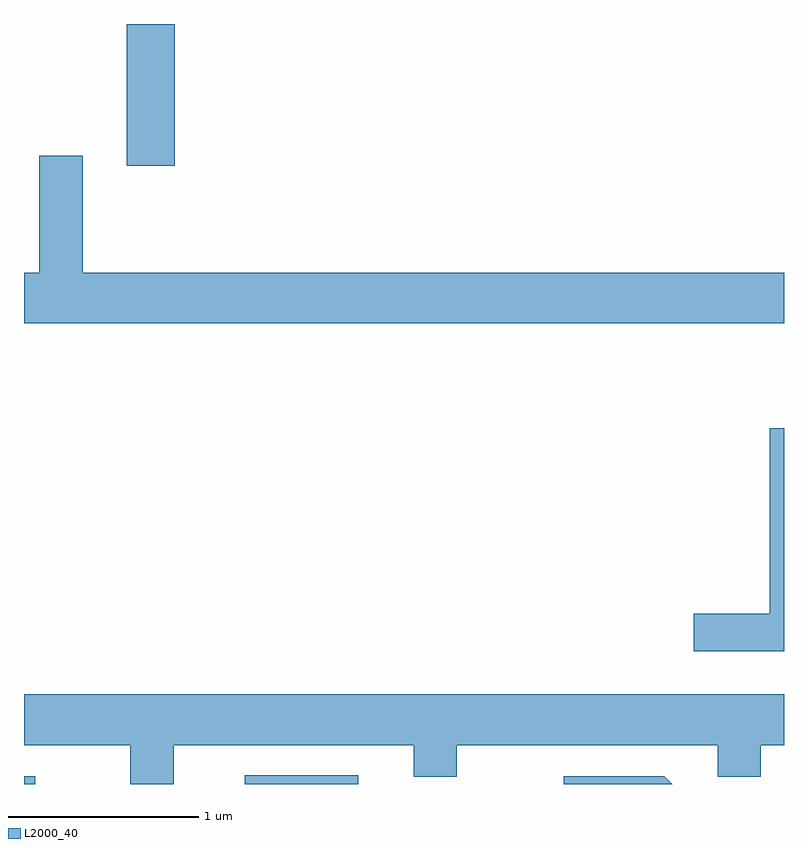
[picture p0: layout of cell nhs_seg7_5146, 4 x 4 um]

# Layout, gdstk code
import gdstk
lib = gdstk.Library(unit=1e-6, precision=1e-09)
def R(c, l, rs):  # rectangles x0, y0, x1, y1
    for r in rs: c.add(gdstk.rectangle(r[:2], r[2:], *l))
def P(c, l, *ps):  # polygons
    for p in ps: c.add(gdstk.Polygon(p, *l))
L2000_40 = (2000, 40)

nhs_seg7_5146 = lib.new_cell('nhs_seg7_5146')
R(nhs_seg7_5146, L2000_40, [(341.611,1796.252,341.669,1796.294), (342.773,1796.252,343.369,1796.299), (342.151,1799.506,342.404,1800.252)])
P(nhs_seg7_5146, L2000_40, [(345.611,1798.944),(341.919,1798.944),(341.919,1799.559),(341.691,1799.559),(341.691,1798.944),(341.611,1798.944),(341.611,1798.676),(345.611,1798.676)],
  [(345.611,1798.124),(345.536,1798.124),(345.536,1797.149),(345.136,1797.149),(345.136,1796.951),(345.611,1796.951)],
  [(342.399,1796.456),(343.661,1796.456),(343.661,1796.291),(343.889,1796.291),(343.889,1796.456),(345.261,1796.456),(345.261,1796.291),(345.489,1796.291),(345.489,1796.456),(345.611,1796.456),(345.611,1796.724),(341.611,1796.724),(341.611,1796.456),(342.171,1796.456),(342.171,1796.252),(342.399,1796.252)],
  [(344.982,1796.294),(344.453,1796.294),(344.453,1796.252),(345.024,1796.252)])

lib.write_gds('nhs_seg7_5146.gds')
